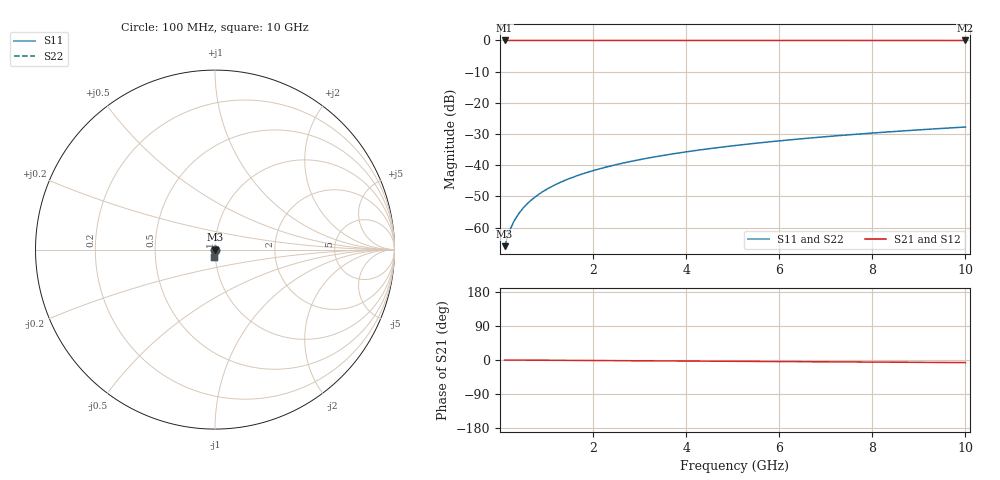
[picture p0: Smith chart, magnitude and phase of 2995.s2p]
# Hz S RI R 50.00
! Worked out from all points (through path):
!   100 points, 100 MHz to 10 GHz, reference 50 ohm
!   highest |S21| = 0.00 dB at 100 MHz (marker M1); lowest = 0.0 dB at 10 GHz (marker M2)
!   lowest |S11| = -66.0 dB at 100 MHz (marker M3), VSWR 1.00, Z = 50 - j0.0409 ohm
!   |S11| at or under -10 dB: start of sweep to end of sweep
!   |S22| runs from -66.0 to -27.8 dB; largest |S21 - S12| = 0
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1e8  0.000294 -0.000409  0.9997 -0.00119  0.9997 -0.00119  0.000294 -0.000409
2e8  0.000294 -0.000817  0.9997 -0.00238  0.9997 -0.00238  0.000294 -0.000817
3e8  0.000292 -0.00123  0.9997 -0.00357  0.9997 -0.00357  0.000292 -0.00123
4e8  0.000289 -0.00163  0.9997 -0.00477  0.9997 -0.00477  0.000289 -0.00163
5e8  0.000285 -0.00204  0.9997 -0.00596  0.9997 -0.00596  0.000285 -0.00204
6e8  0.00028 -0.00245  0.9997 -0.00715  0.9997 -0.00715  0.00028 -0.00245
7e8  0.000273 -0.00286  0.9997 -0.00834  0.9997 -0.00834  0.000273 -0.00286
8e8  0.000266 -0.00327  0.9996 -0.00953  0.9996 -0.00953  0.000266 -0.00327
9e8  0.000258 -0.00368  0.9996 -0.0107  0.9996 -0.0107  0.000258 -0.00368
1.1e9  0.000238 -0.0045  0.9996 -0.0131  0.9996 -0.0131  0.000238 -0.0045
1.4e9  0.000201 -0.00572  0.9995 -0.0167  0.9995 -0.0167  0.000201 -0.00572
1.8e9  0.000138 -0.00736  0.9994 -0.0214  0.9994 -0.0214  0.000138 -0.00736
2.1e9  8.01e-05 -0.00858  0.9993 -0.025  0.9993 -0.025  8.01e-05 -0.00858
2.5e9  -1.08e-05 -0.0102  0.9992 -0.0298  0.9992 -0.0298  -1.08e-05 -0.0102
2.9e9  -0.000117 -0.0119  0.999 -0.0346  0.999 -0.0346  -0.000117 -0.0119
3.4e9  -0.000273 -0.0139  0.9987 -0.0405  0.9987 -0.0405  -0.000273 -0.0139
4.2e9  -0.000572 -0.0172  0.9982 -0.0501  0.9982 -0.0501  -0.000572 -0.0172
5.1e9  -0.000984 -0.0208  0.9976 -0.0608  0.9976 -0.0608  -0.000984 -0.0208
5.9e9  -0.00142 -0.0241  0.9969 -0.0703  0.9969 -0.0703  -0.00142 -0.0241
6.7e9  -0.00191 -0.0273  0.996 -0.0799  0.996 -0.0799  -0.00191 -0.0273
8.4e9  -0.00317 -0.0342  0.994 -0.1001  0.994 -0.1001  -0.00317 -0.0342
1e10  -0.00462 -0.0407  0.9916 -0.1191  0.9916 -0.1191  -0.00462 -0.0407
